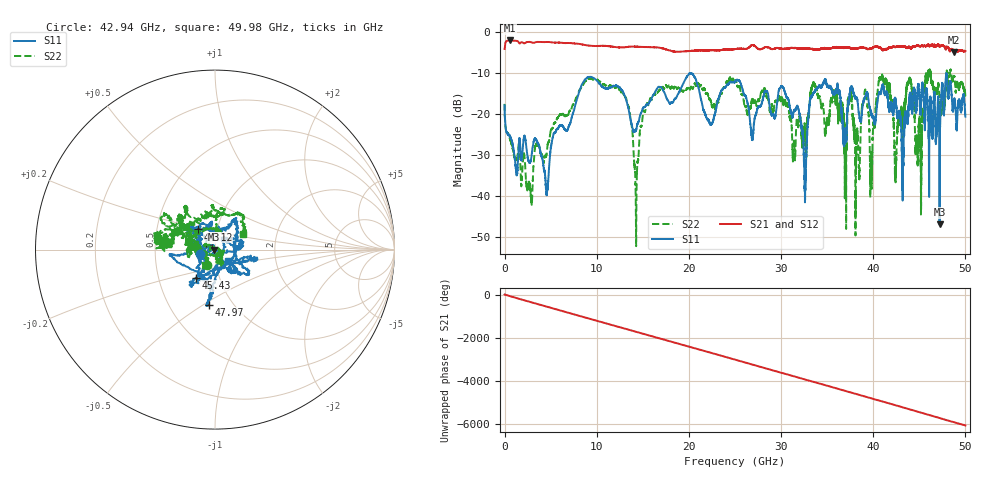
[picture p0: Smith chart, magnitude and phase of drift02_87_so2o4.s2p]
!Created with skrf (http://scikit-rf.org).
# Hz S RI R 50.0
!freq ReS11 ImS11 ReS21 ImS21 ReS12 ImS12 ReS22 ImS22
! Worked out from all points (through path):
!   10001 points, 300 kHz to 50 GHz, reference 50 ohm
!   highest |S21| = -1.99 dB at 585.3 MHz (marker M1); lowest = -4.8 dB at 48.78 GHz (marker M2)
!   group delay of S21, straight-line fit = 337 ps
!   lowest |S11| = -46.8 dB at 47.2 GHz (marker M3), VSWR 1.01, Z = 49.6 + j0.0533 ohm
!   |S11| at or under -10 dB: start of sweep to 20.06 GHz; 20.24 GHz to 47.95 GHz (27.71 GHz wide, 81.3 % of centre); 47.96 GHz to end of sweep (the widest 3 of 7)
!   |S22| runs from -52.1 to -9.1 dB; largest |S21 - S12| = 0.031
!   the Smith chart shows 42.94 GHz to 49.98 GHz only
!   S11 on the Smith chart (normalised r, x): 42.94 GHz: 0.84, -0.04; 44.12 GHz: 0.81, +0.18; 45.43 GHz: 0.77, -0.25; 47.97 GHz: 0.78, -0.53; 49.98 GHz: 1.15, -0.15
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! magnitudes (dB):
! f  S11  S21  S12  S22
! 300 kHz  -17.8  -4.0  -4.0  -17.5
! 585.3 MHz  -25.2  -2.0  -2.0  -26.0
! 4.575 GHz  -39.3  -2.4  -2.4  -29.1
! 8.335 GHz  -13.0  -2.9  -2.9  -13.2
! 13 GHz  -15.3  -3.6  -3.6  -15.6
! 14.28 GHz  -23.8  -3.5  -3.5  -52.1
! 16.67 GHz  -13.3  -3.7  -3.7  -14.5
! 25 GHz  -12.1  -4.1  -4.1  -12.2
! 26.86 GHz  -25.8  -3.1  -3.1  -16.5
! 30.19 GHz  -13.4  -4.1  -4.1  -16.9
! 32.58 GHz  -38.0  -4.0  -3.9  -25.6
! 33.34 GHz  -15.7  -4.0  -4.1  -13.3
! 38.29 GHz  -16.8  -3.9  -3.8  -24.3
! 41.67 GHz  -18.4  -3.8  -3.9  -13.2
! 42.94 GHz  -21.1  -3.5  -3.4  -20.4
! 44.12 GHz  -16.6  -3.9  -4.0  -12.3
! 45.43 GHz  -14.3  -3.4  -3.4  -21.2
! 47.2 GHz  -46.8  -3.4  -3.4  -16.2
! 47.97 GHz  -10.2  -3.8  -3.8  -10.2
! 48.78 GHz  -16.3  -4.8  -4.8  -10.7
! 49.98 GHz  -20.0  -4.6  -4.5  -15.1
! 50 GHz  -20.6  -4.6  -4.6  -15.4
